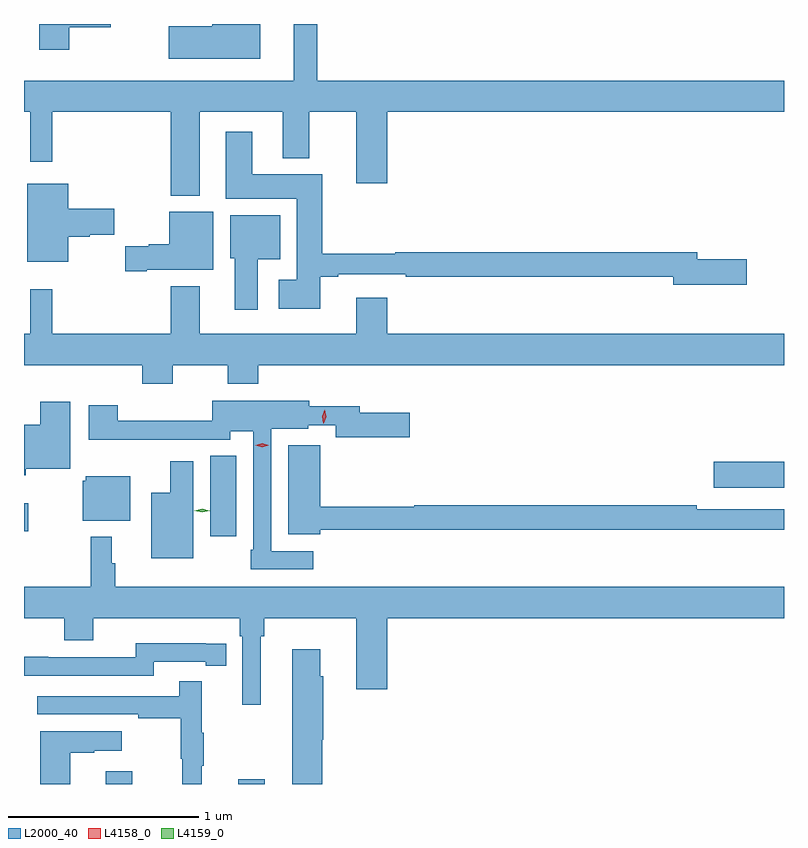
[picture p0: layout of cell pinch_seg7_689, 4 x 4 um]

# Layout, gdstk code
import gdstk
lib = gdstk.Library(unit=1e-6, precision=1e-09)
def R(c, l, rs):  # rectangles x0, y0, x1, y1
    for r in rs: c.add(gdstk.rectangle(r[:2], r[2:], *l))
def P(c, l, *ps):  # polygons
    for p in ps: c.add(gdstk.Polygon(p, *l))
L2000_40 = (2000, 40)
L4158_0 = (4158, 0)
L4159_0 = (4159, 0)

pinch_seg7_689 = lib.new_cell('pinch_seg7_689')
R(pinch_seg7_689, L2000_40, [(295.559,998.411,295.699,998.479), (296.255,998.411,296.395,998.437), (296.108,999.714,296.245,1000.139), (295.128,999.742,295.15,999.889), (298.758,999.971,299.128,1000.106)])
P(pinch_seg7_689, L2000_40, [(295.367,1002.395),(295.585,1002.395),(295.585,1002.411),(295.208,1002.411),(295.208,1002.276),(295.367,1002.276)],
  [(296.053,1001.948),(296.489,1001.948),(296.489,1001.705),(296.629,1001.705),(296.629,1001.948),(296.876,1001.948),(296.876,1001.574),(297.04,1001.574),(297.04,1001.948),(299.128,1001.948),(299.128,1002.112),(296.671,1002.112),(296.671,1002.411),(296.549,1002.411),(296.549,1002.112),(295.128,1002.112),(295.128,1001.948),(295.16,1001.948),(295.16,1001.685),(295.277,1001.685),(295.277,1001.948),(295.901,1001.948),(295.901,1001.507),(296.053,1001.507)],
  [(296.371,1002.411),(296.12,1002.411),(296.12,1002.398),(295.89,1002.398),(295.89,1002.227),(296.371,1002.227)],
  [(296.686,1001.082),(296.782,1001.082),(296.782,1001.094),(297.136,1001.094),(297.136,1001.082),(298.544,1001.082),(298.544,1001.039),(298.933,1001.039),(298.933,1001.174),(298.672,1001.174),(298.672,1001.21),(297.082,1001.21),(297.082,1001.203),(296.699,1001.203),(296.699,1001.62),(296.329,1001.62),(296.329,1001.845),(296.189,1001.845),(296.189,1001.492),(296.564,1001.492),(296.564,1001.065),(296.469,1001.065),(296.469,1000.913),(296.686,1000.913)],
  [(295.36,1001.291),(295.473,1001.291),(295.473,1001.302),(295.603,1001.302),(295.603,1001.438),(295.36,1001.438),(295.36,1001.569),(295.145,1001.569),(295.145,1001.159),(295.36,1001.159)],
  [(295.774,1001.117),(296.125,1001.117),(296.125,1001.422),(295.892,1001.422),(295.892,1001.252),(295.785,1001.252),(295.785,1001.24),(295.662,1001.24),(295.662,1001.11),(295.774,1001.11)],
  [(296.359,1001.174),(296.476,1001.174),(296.476,1001.404),(296.213,1001.404),(296.213,1001.178),(296.237,1001.178),(296.237,1000.908),(296.359,1000.908)],
  [(295.911,1000.616),(296.2,1000.616),(296.2,1000.517),(296.36,1000.517),(296.36,1000.616),(299.128,1000.616),(299.128,1000.78),(297.04,1000.78),(297.04,1000.969),(296.876,1000.969),(296.876,1000.78),(296.053,1000.78),(296.053,1001.032),(295.901,1001.032),(295.901,1000.78),(295.277,1000.78),(295.277,1001.014),(295.16,1001.014),(295.16,1000.78),(295.128,1000.78),(295.128,1000.616),(295.751,1000.616),(295.751,1000.517),(295.911,1000.517)],
  [(296.65,999.636),(296.43,999.636),(296.43,1000.28),(296.625,1000.28),(296.625,1000.299),(296.768,1000.299),(296.768,1000.237),(297.157,1000.237),(297.157,1000.366),(296.896,1000.366),(296.896,1000.398),(296.629,1000.398),(296.629,1000.429),(296.118,1000.429),(296.118,1000.322),(295.622,1000.322),(295.622,1000.405),(295.469,1000.405),(295.469,1000.223),(295.705,1000.223),(295.705,1000.224),(296.214,1000.224),(296.214,1000.268),(296.334,1000.268),(296.334,999.643),(296.322,999.643),(296.322,999.54),(296.65,999.54)],
  [(295.138,1000.07),(295.372,1000.07),(295.372,1000.423),(295.214,1000.423),(295.214,1000.303),(295.128,1000.303),(295.128,1000.037),(295.138,1000.037)],
  [(296.686,999.75),(299.128,999.75),(299.128,999.858),(298.67,999.858),(298.67,999.878),(297.182,999.878),(297.182,999.871),(296.686,999.871),(296.686,1000.195),(296.519,1000.195),(296.519,999.725),(296.686,999.725)],
  [(296.02,1000.111),(295.898,1000.111),(295.898,999.943),(295.799,999.943),(295.799,999.599),(296.02,999.599)],
  [(295.687,1000.03),(295.452,1000.03),(295.452,1000.008),(295.436,1000.008),(295.436,999.797),(295.687,999.797)],
  [(295.589,999.572),(295.589,999.712),(295.479,999.712),(295.479,999.448),(295.128,999.448),(295.128,999.284),(295.34,999.284),(295.34,999.167),(295.492,999.167),(295.492,999.284),(296.264,999.284),(296.264,999.188),(296.277,999.188),(296.277,998.829),(296.374,998.829),(296.374,999.188),(296.393,999.188),(296.393,999.284),(296.876,999.284),(296.876,998.91),(297.04,998.91),(297.04,999.284),(299.128,999.284),(299.128,999.448),(295.607,999.448),(295.607,999.572)],
  [(295.812,999.054),(296.084,999.054),(296.084,999.034),(296.192,999.034),(296.192,999.15),(296.084,999.15),(296.084,999.151),(295.716,999.151),(295.716,999.078),(295.256,999.078),(295.256,999.08),(295.128,999.08),(295.128,998.982),(295.812,998.982)],
  [(296.699,998.643),(296.704,998.643),(296.704,998.979),(296.686,998.979),(296.686,999.121),(296.54,999.121),(296.54,998.411),(296.699,998.411)],
  [(296.063,998.507),(296.074,998.507),(296.074,998.681),(296.063,998.681),(296.063,998.953),(295.945,998.953),(295.945,998.874),(295.197,998.874),(295.197,998.778),(295.729,998.778),(295.729,998.758),(295.953,998.758),(295.953,998.544),(295.96,998.544),(295.96,998.411),(296.063,998.411)],
  [(295.372,998.575),(295.499,998.575),(295.499,998.585),(295.642,998.585),(295.642,998.689),(295.214,998.689),(295.214,998.411),(295.372,998.411)])
P(pinch_seg7_689, L4158_0, [(296.704,1000.31),(296.704,1000.31),(296.698,1000.347),(296.711,1000.382),(296.711,1000.382),(296.711,1000.382),(296.718,1000.345),(296.705,1000.31)],
  [(296.382,1000.184),(296.346,1000.193),(296.346,1000.193),(296.346,1000.194),(296.381,1000.204),(296.416,1000.195),(296.416,1000.195),(296.416,1000.194)])
P(pinch_seg7_689, L4159_0, [(296.066,999.84),(296.025,999.85),(296.025,999.85),(296.025,999.85),(296.066,999.86),(296.106,999.85),(296.107,999.85),(296.106,999.85)])

lib.write_gds('pinch_seg7_689.gds')
